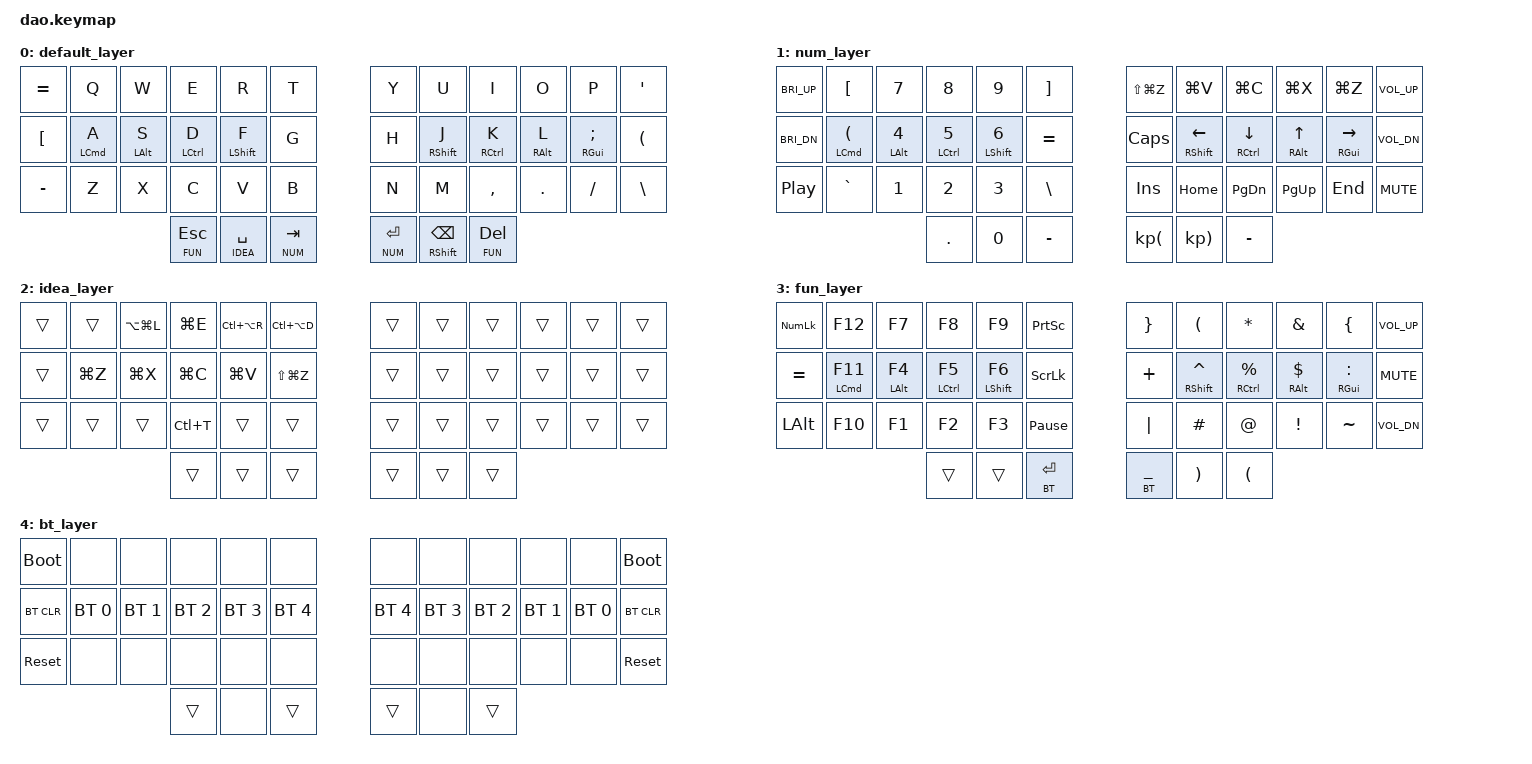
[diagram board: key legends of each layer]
/*
 * Copyright (c) 2021 Rafael Yumagulov
 *
 * SPDX-License-Identifier: MIT
 */

#include <behaviors.dtsi>
#include <dt-bindings/zmk/keys.h>
#include <dt-bindings/zmk/bt.h>

#define DEF 0
#define NUM 1
#define IDEA 2
#define FUN 3
#define BT 4

&lt { quick_tap_ms = <200>; };
&mt { quick_tap_ms = <200>; };

/ {
    chosen {
        zmk,matrix_transform = &default_transform;
        // zmk,matrix_transform = &extra_keys_transform;
    };
};

/ {
        behaviors {
            td0: tap_dance_0 {
                compatible = "zmk,behavior-tap-dance";
                #binding-cells = <0>;
                tapping-term-ms = <200>;
                bindings = <&mt LSHFT F>, <&dshift>;
            };
        };

        macros {
            dshift: double_shift {
                compatible = "zmk,behavior-macro";
                #binding-cells = <0>;
                bindings = <&macro_tap &kp LSHFT &kp LSHFT>;
            };
        };


        combos {
                compatible = "zmk,combos";

                combo_undo {
                    // ZX
                    key-positions = <25 26>;
                    bindings = <&kp LG(X)>;
                };

                combo_cut {
                    // ZC
                    key-positions = <25 27>;
                    bindings = <&kp LG(Z)>;
                };

                combo_copy {
                    // XC
                    key-positions = <26 27>;
                    bindings = <&kp LG(C)>;
                };

                combo_paste {
                    // CV
                    key-positions = <27 28>;
                    bindings = <&kp LG(V)>;
                };

                combo_alt_backsapce {
                    // QW
                    key-positions = <1 2>;
                    bindings = <&kp LA(BSPC)>;
                };

                combo_backsapce {
                    // WE
                    key-positions = <2 3>;
                    bindings = <&kp BSPC>;
                };

                combo_delete {
                    // ER
                    key-positions = <3 4>;
                    bindings = <&kp DEL>;
                };
            };

        keymap {
                compatible = "zmk,keymap";

                default_layer {
                        bindings = <
                &kp EQUAL       &kp Q        &kp W         &kp E             &kp R         &kp T               &kp Y         &kp U            &kp I         &kp O        &kp P           &kp APOS
                &kp LBKT   &mt LCMD A   &mt LALT S   &mt LCTRL D       &mt LSHFT F         &kp G               &kp H         &mt RSHFT J      &mt RCTRL K   &mt RALT L   &mt RGUI SEMI   &kp LPAR
                &kp MINUS       &kp Z        &kp X         &kp C             &kp V         &kp B               &kp N         &kp M            &kp COMMA     &kp DOT      &kp FSLH        &kp BSLH
                                                     &lt FUN ESC    &lt IDEA SPACE   &lt NUM TAB               &lt NUM RET   &mt RSHFT BSPC   &lt FUN DEL
                        >;
                };
                num_layer {
                        bindings = <
            &kp C_BRI_UP        &kp LBKT        &kp N7         &kp N8         &kp N9    &kp RBKT               &kp LS(LG(Z))     &kp LG(V)        &kp LG(C)        &kp LG(X)     &kp LG(Z)        &kp C_VOL_UP
            &kp C_BRI_DN   &mt LCMD LPAR   &mt LALT N4   &mt LCTRL N5   &mt LSHFT N6   &kp EQUAL               &kp CAPS          &mt RSHFT LEFT   &mt RCTRL DOWN   &mt RALT UP   &mt RGUI RIGHT   &kp C_VOL_DN
                &kp C_PP       &kp GRAVE        &kp N1         &kp N2         &kp N3    &kp BSLH               &kp INS           &kp HOME         &kp PAGE_DOWN    &kp PAGE_UP   &kp END          &kp C_MUTE
                                                              &kp DOT         &kp N0   &kp MINUS               &kp KP_LPAR       &kp KP_RPAR      &kp MINUS
                        >;
                };

                idea_layer {
                        bindings = <
                  &trans      &trans   &kp LA(LG(L))   &kp LG(E)   &kp LC(LA(R))   &kp LC(LA(D))               &trans   &trans   &trans   &trans   &trans   &trans
                  &trans   &kp LG(Z)       &kp LG(X)   &kp LG(C)       &kp LG(V)   &kp LS(LG(Z))               &trans   &trans   &trans   &trans   &trans   &trans
                  &trans      &trans          &trans   &kp LC(T)          &trans          &trans               &trans   &trans   &trans   &trans   &trans   &trans
                                                          &trans          &trans          &trans               &trans   &trans   &trans
                        >;
                };

                fun_layer {
                        bindings = <
         &kp KP_NUM        &kp F12        &kp F7         &kp F8         &kp F9         &kp PSCRN               &kp RBRC       &kp LPAR          &kp STAR          &kp AMPS        &kp LBRC         &kp C_VOL_UP
          &kp EQUAL   &mt LCMD F11   &mt LALT F4   &mt LCTRL F5   &mt LSHFT F6          &kp SLCK               &kp PLUS       &mt RSHFT CARET   &mt RCTRL PRCNT   &mt RALT DLLR   &mt RGUI COLON   &kp C_MUTE
           &kp LALT        &kp F10        &kp F1         &kp F2         &kp F3   &kp PAUSE_BREAK               &kp PIPE       &kp HASH          &kp AT            &kp EXCL        &kp TILDE        &kp C_VOL_DN
                                                         &trans         &trans        &lt BT RET               &lt BT UNDER   &kp RPAR          &kp LPAR
                        >;
                };



                bt_layer {
                        bindings = <
          &bootloader   &none          &none          &none          &none          &none                     &none          &none          &none          &none          &none          &bootloader
          &bt BT_CLR    &bt BT_SEL 0   &bt BT_SEL 1   &bt BT_SEL 2   &bt BT_SEL 3   &bt BT_SEL 4              &bt BT_SEL 4   &bt BT_SEL 3   &bt BT_SEL 2   &bt BT_SEL 1   &bt BT_SEL 0   &bt BT_CLR
          &sys_reset    &none          &none          &none          &none          &none                     &none          &none          &none          &none          &none          &sys_reset
                                                      &trans         &none          &trans                    &trans         &none          &trans
                        >;
                };
        };
};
